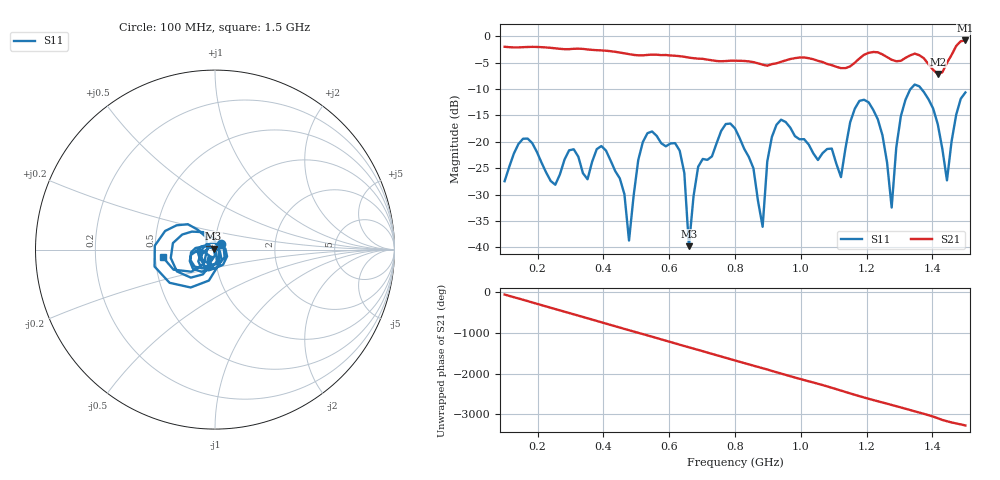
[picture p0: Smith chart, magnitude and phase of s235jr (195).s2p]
! NanoVNA-App
! Date: 2025-09-25 15:05:41
! Start: 100MHz Stop: 1,5GHz Points: 101
! S-Parameter data: F S11 S21 S12 S22
# Hz S RI R 50
!  Frequency  S11_Real  S11_Imag  S21_Real  S21_Imag  S12_Real  S12_Imag  S22_Real  S22_Imag
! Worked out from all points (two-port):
!   101 points, 100 MHz to 1.5 GHz, reference 50 ohm
!   highest |S21| = -0.76 dB at 1.5 GHz (marker M1); lowest = -7.1 dB at 1.416 GHz (marker M2)
!   |S21| within 3 dB of the highest: start of sweep to 634.5 MHz; 1.187 GHz to 1.258 GHz (71.2 MHz wide, 5.83 % of centre) (the widest 2 of 4)
!   lowest |S11| = -39.8 dB at 660 MHz (marker M3), VSWR 1.02, Z = 49.2 + j0.59 ohm
!   |S11| at or under -10 dB: start of sweep to 1.333 GHz; 1.367 GHz to end of sweep
!   S12 and S22 are empty: the file has one direction only
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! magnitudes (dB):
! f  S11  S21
! 100 MHz  -27.5  -2.0
! 156 MHz  -19.4  -2.0
! 338 MHz  -26.0  -2.4
! 408 MHz  -21.7  -2.7
! 478 MHz  -38.7  -3.4
! 520 MHz  -20.0  -3.6
! 576 MHz  -20.3  -3.5
! 632 MHz  -21.7  -3.7
! 660 MHz  -39.8  -4.0
! 688 MHz  -24.7  -4.2
! 800 MHz  -17.5  -4.6
! 884 MHz  -36.1  -5.4
! 926 MHz  -16.8  -5.1
! 1.038 GHz  -22.2  -4.3
! 1.122 GHz  -26.7  -6.0
! 1.206 GHz  -12.5  -3.1
! 1.276 GHz  -32.5  -4.4
! 1.304 GHz  -15.1  -4.6
! 1.332 GHz  -10.1  -3.6
! 1.416 GHz  -16.6  -7.1
! 1.444 GHz  -27.3  -5.0
! 1.5 GHz  -10.6  -0.8
